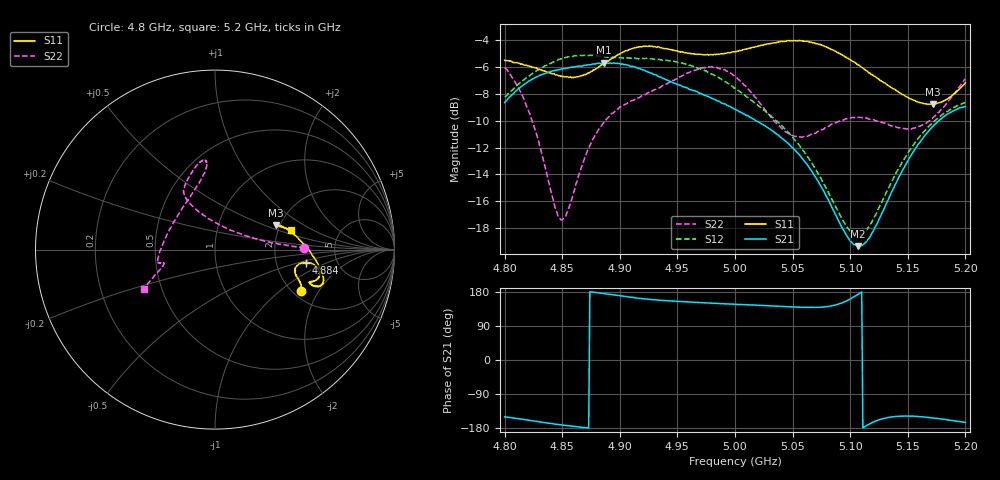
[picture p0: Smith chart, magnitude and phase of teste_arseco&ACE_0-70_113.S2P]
! Network Analyzer HP8722D
! Hewlett-Packard
! Data name: Linha & Wilkinson
! Saver's name: Rodrigo Anjos
! Comments: Teste da utilização de aquisição
! continua pelo VNA HP8722D
! Time and date: 8/5/2025 13:42
!  Frequency  S11  S21  S12  S22
# HZ  S  MA R 50
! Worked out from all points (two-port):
!   401 points, 4.8 GHz to 5.2 GHz, reference 50 ohm
!   highest |S21| = -5.68 dB at 4.886 GHz (marker M1); lowest = -19.4 dB at 5.107 GHz (marker M2)
!   |S21| within 3 dB of the highest: start of sweep to 4.988 GHz
!   lowest |S11| = -8.8 dB at 5.172 GHz (marker M3), VSWR 2.15, Z = 94.7 + j30.1 ohm
!   |S11| at or under -10 dB: nowhere
!   |S22| runs from -17.4 to -6.0 dB; largest |S21 - S12| = 1.1
!   S11 on the Smith chart (normalised r, x): 4.8 GHz: 2.23, -1.41; 4.884 GHz: 2.96, -0.58; 5.2 GHz: 2.35, +0.64
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4.8e9  0.5314 -25.4  0.3696 -150.0  0.3884 9.3  0.4987 1.2
4.812e9  0.5189 -22.4  0.4162 -154.8  0.4334 7.6  0.4192 2.6
4.822e9  0.5035 -20.8  0.4456 -159.4  0.466 6.1  0.3338 6.1
4.848e9  0.4656 -16.1  0.4904 -170.6  0.5359 2.0  0.1365 57.5
4.854e9  0.4621 -14.9  0.497 -173.0  0.5456 1.2  0.1433 81.8
4.867e9  0.4648 -11.1  0.5056 -177.8  0.5535 -0.9  0.2145 110.3
4.884e9  0.5112 -8.1  0.5179 176.4  0.5487 -2.0  0.3021 119.2
4.886e9  0.5145 -8.0  0.5201 175.4  0.5499 -2.0  0.3108 119.3
4.911e9  0.5889 -11.0  0.5045 165.3  0.5389 -1.3  0.3762 117.6
4.934e9  0.5961 -16.0  0.4621 157.9  0.5366 -2.3  0.4193 111.2
4.975e9  0.5576 -19.2  0.3921 150.6  0.4855 -6.0  0.5002 98.1
5e9  0.5723 -20.0  0.3494 147.0  0.4191 -5.9  0.4624 96.0
5.018e9  0.5978 -19.9  0.3165 144.8  0.3647 -3.4  0.3857 103.1
5.045e9  0.6288 -17.9  0.2627 140.6  0.2899 2.4  0.2861 133.1
5.067e9  0.6182 -13.8  0.204 138.6  0.2191 9.0  0.2815 165.0
5.096e9  0.5466 -3.8  0.1197 155.0  0.1294 35.2  0.3219 -171.6
5.107e9  0.512 1.4  0.1077 173.7  0.1177 56.3  0.3258 -168.2
5.118e9  0.4711 6.9  0.1184 -166.6  0.131 77.5  0.3201 -166.4
5.134e9  0.4262 14.5  0.1644 -151.0  0.1802 94.5  0.3042 -165.8
5.154e9  0.3789 20.9  0.2395 -148.5  0.2543 100.7  0.2961 -164.1
5.172e9  0.3644 22.2  0.3018 -152.9  0.3124 101.5  0.3253 -160.1
5.2e9  0.4382 14.7  0.3576 -164.7  0.3711 101.9  0.4527 -151.1
